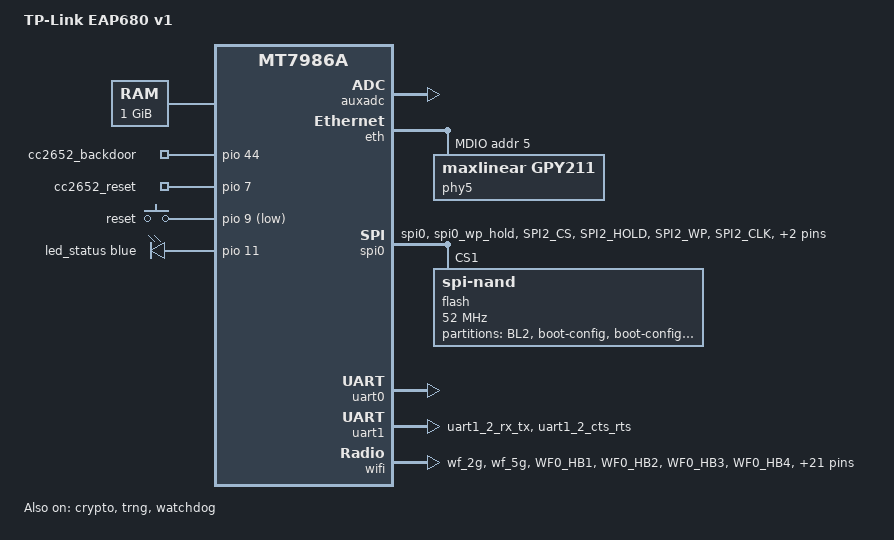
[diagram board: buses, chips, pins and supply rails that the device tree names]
// SPDX-License-Identifier: GPL-2.0-or-later OR MIT

/dts-v1/;
#include <dt-bindings/gpio/gpio.h>
#include <dt-bindings/input/input.h>
#include <dt-bindings/leds/common.h>
#include <dt-bindings/pinctrl/mt65xx.h>

#include "mt7986a.dtsi"

/ {
	compatible = "tplink,eap680-v1", "mediatek,mt7986a";
	model = "TP-Link EAP680 v1";

	aliases {
		serial0 = &uart0;
		ethernet0 = &gmac1;
		label-mac-device = &gmac1;
		led-boot = &led_status;
		led-failsafe = &led_status;
		led-running = &led_status;
		led-upgrade = &led_status;
	};

	/*
	 * The stock TP-Link U-Boot unconditionally passes
	 * "ubi.mtd=rootfs root=/dev/ubiblock0_0" (or rootfs_1) on the kernel
	 * command line, pointing at fixed UBI volume ids. Override it so the
	 * rootfs is found by UBI volume name instead.
	 */
	chosen {
		bootargs-override = "console=ttyS0,115200n8 earlycon=uart8250,mmio32,0x11002000";
		stdout-path = "serial0:115200n8";
	};

	memory@40000000 {
		reg = <0 0x40000000 0 0x40000000>;
		device_type = "memory";
	};

	/*
	 * TI CC2652-class BLE / 802.15.4 co-processor. Reset and the ROM
	 * bootloader backdoor, per stock /etc/EAP680_1.0/gpio.conf. Both idle
	 * high; the backdoor is active low (CCFG BL_CONFIG selects DIO19,
	 * BL_LEVEL = 0), so pulling it low across a reset pulse drops the part
	 * into its serial bootloader on uart1.
	 */
	gpio-export {
		compatible = "gpio-export";

		cc2652_backdoor {
			gpio-export,name = "cc2652_backdoor";
			gpio-export,output = <1>;
			gpios = <&pio 44 GPIO_ACTIVE_HIGH>;
		};

		cc2652_reset {
			gpio-export,name = "cc2652_reset";
			gpio-export,output = <1>;
			gpios = <&pio 7 GPIO_ACTIVE_HIGH>;
		};
	};

	keys {
		compatible = "gpio-keys";

		button-reset {
			label = "reset";
			gpios = <&pio 9 GPIO_ACTIVE_LOW>;
			linux,code = <KEY_RESTART>;
		};
	};

	leds {
		compatible = "gpio-leds";

		led_status: led-0 {
			function = LED_FUNCTION_STATUS;
			color = <LED_COLOR_ID_BLUE>;
			gpios = <&pio 11 GPIO_ACTIVE_HIGH>;
		};
	};
};

&auxadc {
	status = "okay";
};

&crypto {
	status = "okay";
};

&eth {
	status = "okay";

	gmac1: mac@1 {
		compatible = "mediatek,eth-mac";
		reg = <1>;
		phy-handle = <&phy5>;
		phy-mode = "2500base-x";
	};

	mdio-bus {
		#address-cells = <1>;
		#size-cells = <0>;
		reset-gpios = <&pio 10 GPIO_ACTIVE_LOW>;
		reset-delay-us = <600>;
		reset-post-delay-us = <20000>;

		/* MaxLinear GPY211C 2.5G PHY on the single PoE ethernet port */
		phy5: ethernet-phy@5 {
			compatible = "maxlinear,gpy211", "ethernet-phy-ieee802.3-c45";
			reg = <5>;
			phy-mode = "2500base-x";
		};
	};
};

&pio {
	spi_flash_pins: spi-flash-pins-33-to-38 {
		mux {
			function = "spi";
			groups = "spi0", "spi0_wp_hold";
		};
		conf-pu {
			pins = "SPI2_CS", "SPI2_HOLD", "SPI2_WP";
			drive-strength = <MTK_DRIVE_8mA>;
			mediatek,pull-up-adv = <MTK_PUPD_SET_R1R0_11>;
		};
		conf-pd {
			pins = "SPI2_CLK", "SPI2_MOSI", "SPI2_MISO";
			drive-strength = <MTK_DRIVE_8mA>;
			mediatek,pull-down-adv = <MTK_PUPD_SET_R1R0_11>;
		};
	};

	uart1_pins: uart1-pins {
		mux {
			function = "uart";
			groups = "uart1_2_rx_tx", "uart1_2_cts_rts";
		};
	};

	wf_2g_5g_pins: wf_2g_5g-pins {
		mux {
			function = "wifi";
			groups = "wf_2g", "wf_5g";
		};
		conf {
			pins = "WF0_HB1", "WF0_HB2", "WF0_HB3", "WF0_HB4",
			       "WF0_HB0", "WF0_HB0_B", "WF0_HB5", "WF0_HB6",
			       "WF0_HB7", "WF0_HB8", "WF0_HB9", "WF0_HB10",
			       "WF0_TOP_CLK", "WF0_TOP_DATA", "WF1_HB1",
			       "WF1_HB2", "WF1_HB3", "WF1_HB4", "WF1_HB0",
			       "WF1_HB5", "WF1_HB6", "WF1_HB7", "WF1_HB8",
			       "WF1_TOP_CLK", "WF1_TOP_DATA";
			drive-strength = <MTK_DRIVE_4mA>;
		};
	};
};

&spi0 {
	pinctrl-names = "default";
	pinctrl-0 = <&spi_flash_pins>;
	/*
	 * Stock places the SPI-NAND at chip-select 1. The controller must
	 * advertise two chip-selects or mtk-spi rejects flash@1
	 * ("cs1 >= max 1"), leaving /proc/mtd empty.
	 */
	cs-gpios = <0>, <0>;
	status = "okay";

	/*
	 * The flash is managed by MediaTek NMBM, created by the stock
	 * firmware; attach to the existing mapping table.
	 */
	flash@1 {
		compatible = "spi-nand";
		reg = <1>;
		#address-cells = <1>;
		#size-cells = <1>;
		spi-max-frequency = <52000000>;
		spi-rx-bus-width = <4>;
		spi-tx-bus-width = <4>;
		mediatek,nmbm;
		mediatek,bmt-max-ratio = <1>;
		mediatek,bmt-max-reserved-blocks = <64>;

		partitions {
			compatible = "fixed-partitions";
			#address-cells = <1>;
			#size-cells = <1>;

			partition@0 {
				reg = <0x0 0x100000>;
				label = "BL2";
				read-only;
			};

			partition@100000 {
				reg = <0x100000 0x100000>;
				label = "boot-config";
				read-only;
			};

			partition@200000 {
				reg = <0x200000 0x100000>;
				label = "boot-config1";
				read-only;
			};

			partition@300000 {
				reg = <0x300000 0x100000>;
				label = "u-boot-env";
			};

			partition@400000 {
				reg = <0x400000 0x200000>;
				label = "FIP0";
				read-only;
			};

			partition@600000 {
				reg = <0x600000 0x200000>;
				label = "FIP1";
				read-only;
			};

			partition@800000 {
				reg = <0x800000 0x100000>;
				label = "oops";
			};

			/* stock firmware slot A: OpenWrt lives here */
			partition@900000 {
				reg = <0x900000 0x2680000>;
				label = "ubi";
			};

			/* stock firmware slot B: left untouched for revert */
			partition@2f80000 {
				reg = <0x2f80000 0x2680000>;
				label = "ubi1";
				read-only;
			};

			/* UBIFS holding the radio caldata and default-mac */
			partition@5600000 {
				reg = <0x5600000 0x800000>;
				label = "factory_data";
				read-only;
			};

			partition@5e00000 {
				reg = <0x5e00000 0xc00000>;
				label = "runtime_data";
				read-only;
			};

			partition@6a00000 {
				reg = <0x6a00000 0x800000>;
				label = "backup_data";
				read-only;
			};

			/*
			 * Stock declares 0x800000, but NMBM reserves the last 64
			 * blocks, so the visible device ends at 0x7800000 and the
			 * partition would be truncated.
			 */
			partition@7200000 {
				reg = <0x7200000 0x600000>;
				label = "runtime_backup";
				read-only;
			};
		};
	};
};

&trng {
	status = "okay";
};

&uart0 {
	status = "okay";
};

&uart1 {
	pinctrl-names = "default";
	pinctrl-0 = <&uart1_pins>;
	status = "okay";
};

&watchdog {
	status = "okay";
};

&wifi {
	pinctrl-names = "default";
	pinctrl-0 = <&wf_2g_5g_pins>;
	status = "okay";
};
